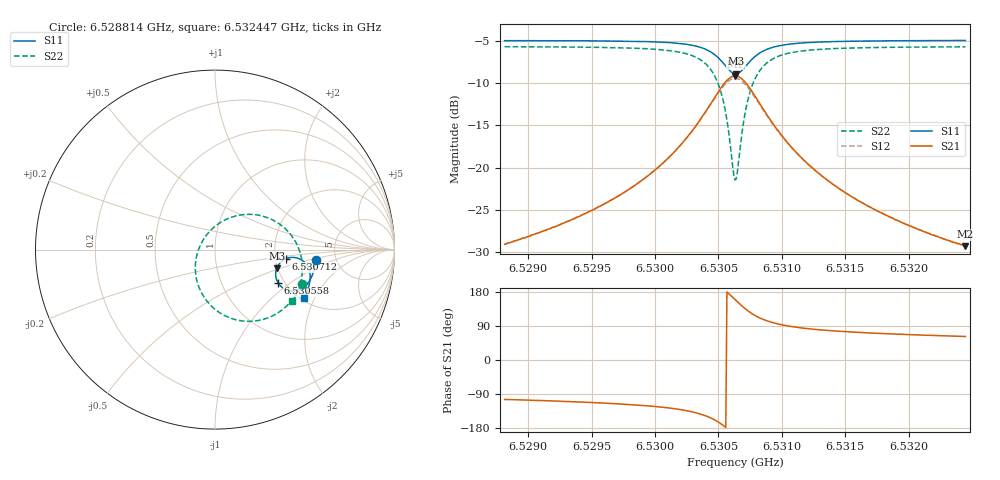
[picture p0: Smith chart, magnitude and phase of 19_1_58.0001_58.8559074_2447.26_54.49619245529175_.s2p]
#  HZ  S  RI  R  50.00
! Rohde & Schwarz Vector Network Analyzer
! Rohde-Schwarz,ZNB20-2Port,1311601062101988,3.16
! Created: UTC 3/21/2024, 12:51:06 AM
! freq[Hz]  re:S11  im:S11  re:S21  im:S21  re:S12  im:S12  re:S22  im:S22
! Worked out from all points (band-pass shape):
!   401 points, 6.528814 GHz to 6.532447 GHz, reference 50 ohm
!   highest |S21| = -9.15 dB at 6.530631 GHz (marker M1); lowest = -29.3 dB at 6.532447 GHz (marker M2)
!   |S21| within 3 dB of the highest: 6.530451 GHz to 6.530814 GHz (363.2 kHz wide, 0.00556 % of centre)
!   lowest |S11| = -8.9 dB at 6.53064 GHz (marker M3), VSWR 2.12, Z = 98.5 - j23.7 ohm
!   |S11| at or under -10 dB: nowhere
!   |S22| runs from -21.4 to -5.7 dB; largest |S21 - S12| = 0.015
!   S11 on the Smith chart (normalised r, x): 6.528814 GHz: 3.47, -0.60; 6.530558 GHz: 1.85, -0.82; 6.530712 GHz: 2.27, -0.28; 6.532447 GHz: 2.10, -1.65
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6.5288142e9  0.5609 -0.0589  -0.00865 -0.0342  -0.00927 -0.0341  0.4824 -0.192
6.5294227e9  0.5515 -0.1121  -0.0189 -0.049  -0.0201 -0.0486  0.4493 -0.254
6.5297587e9  0.5406 -0.1457  -0.0323 -0.0639  -0.0339 -0.0633  0.4151 -0.2985
6.5300311e9  0.5238 -0.1785  -0.0563 -0.0845  -0.0588 -0.0829  0.3607 -0.3458
6.5302491e9  0.4936 -0.2107  -0.1036 -0.1084  -0.1071 -0.1045  0.2649 -0.3897
6.5304035e9  0.4435 -0.2304  -0.184 -0.1157  -0.1867 -0.1075  0.118 -0.3912
6.5304943e9  0.3916 -0.2217  -0.2654 -0.0822  -0.2639 -0.0703  -0.0165 -0.318
6.5305306e9  0.3682 -0.2058  -0.3009 -0.0477  -0.2955 -0.0352  -0.0689 -0.2521
6.5305579e9  0.3524 -0.1868  -0.3226 -0.0108  -0.3144 0.00102  -0.0976 -0.1858
6.5306124e9  0.338 -0.134  -0.336 0.0864  -0.3227 0.0931  -0.0994 -0.0231
6.5306305e9  0.3406 -0.1143  -0.3274 0.1207  -0.3136 0.1249  -0.0787 0.0312
6.5306396e9  0.3435 -0.1048  -0.3207 0.137  -0.3069 0.1401  -0.0645 0.0567
6.5306578e9  0.3522 -0.087  -0.3024 0.1673  -0.2891 0.1677  -0.0291 0.1026
6.5307123e9  0.3933 -0.0515  -0.2257 0.2265  -0.2164 0.2223  0.1081 0.1855
6.5307486e9  0.4235 -0.0436  -0.172 0.2387  -0.1659 0.2341  0.1994 0.1964
6.5307849e9  0.4501 -0.0451  -0.126 0.2361  -0.1218 0.2318  0.2764 0.1832
6.530903e9  0.5025 -0.0749  -0.0375 0.191  -0.036 0.1891  0.4194 0.0867
6.5310301e9  0.523 -0.1087  -0.00223 0.145  -0.00106 0.1442  0.471 -0.00642
6.531239e9  0.5306 -0.1493  0.0147 0.0987  0.0159 0.0985  0.4869 -0.1022
6.5315024e9  0.5276 -0.1845  0.0186 0.0686  0.0196 0.0683  0.4796 -0.1713
6.5318475e9  0.5181 -0.2195  0.0183 0.048  0.0192 0.0476  0.4628 -0.2263
6.5324469e9  0.4977 -0.2684  0.0161 0.0304  0.0168 0.0301  0.4318 -0.2874
